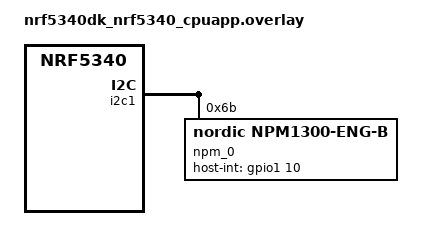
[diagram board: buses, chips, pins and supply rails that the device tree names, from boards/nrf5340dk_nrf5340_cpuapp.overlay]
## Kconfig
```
#
# Copyright (c) 2022 Nordic Semiconductor ASA
#
# SPDX-License-Identifier: Apache-2.0
#

mainmenu "Fuel Gauge example"

source "Kconfig.zephyr"
```

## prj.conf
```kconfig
#
# Copyright (c) 2022 Nordic Semiconductor ASA
#
# SPDX-License-Identifier: Apache-2.0
#

CONFIG_SERIAL=y
CONFIG_CONSOLE=y
CONFIG_UART_CONSOLE=y

CONFIG_I2C=y
CONFIG_NPMX=y
CONFIG_NPMX_DEVICE_NPM1300_ENG_B=y
CONFIG_LOG=y
CONFIG_NPMX_LOG_LEVEL_DBG=y
CONFIG_SHELL=y
CONFIG_ASSERT=y

# Core Dump configuraion
CONFIG_DEBUG_COREDUMP=y
CONFIG_DEBUG_COREDUMP_BACKEND_LOGGING=y

CONFIG_NRF_FUEL_GAUGE=y
```

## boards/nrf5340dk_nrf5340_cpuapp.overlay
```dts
/*
 * Copyright (c) 2022 Nordic Semiconductor ASA
 *
 * SPDX-License-Identifier: Apache-2.0
 */

&i2c1 {
	compatible = "nordic,nrf-twim";
	status = "okay";

	npm_0: npm1300@6b {
		status = "okay";
		compatible = "nordic,npm1300-eng-b";
		reg = <0x6b>;
		host-int-gpios = <&gpio1 10 (GPIO_PULL_DOWN | GPIO_ACTIVE_HIGH)>;
		pmic-int-pin = <0>;
	};
};

&i2c1_default {
	group1 {
		bias-pull-up;
	};
};
```

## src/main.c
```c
/*
 * Copyright (c) 2023 Nordic Semiconductor ASA
 *
 * SPDX-License-Identifier: BSD-3
 */

#include <zephyr/logging/log.h>
#include <zephyr/kernel.h>
#include <npmx_driver.h>

#include "nrf_fuel_gauge.h"

#define LOG_MODULE_NAME fuel_gague
LOG_MODULE_REGISTER(LOG_MODULE_NAME);

K_SEM_DEFINE(init_sem, 0, 1);

static const struct battery_model battery_model = {
#include "battery_model.inc"
};

static npmx_error_t fuel_gauge_init(void)
{
	struct nrf_fuel_gauge_init_parameters parameters = { .model = &battery_model };

	nrf_fuel_gauge_init(&parameters, NULL);

	return NPMX_SUCCESS;
}

static void adc_callback(npmx_instance_t *p_pm, npmx_callback_type_t type, uint8_t mask)
{
	/* Get V_BAT */
	uin16_t vbat_mv;
	if (npmx_adc_meas_get(npmx_adc_get(p_pm, 0), NPMX_ADC_MEAS_VBAT, &vbat_mv) !=
	    NPMX_SUCCESS) {
		LOG_ERR("VBAT measurement failed.")
	}

	// get T_BAT

	// get I_BAT ???

	/* Release first callback semaphore - fuel gauge can be initialized. */
	k_sem_give(&init_sem);
}

void main(void)
{
	const struct device *pmic_dev = DEVICE_DT_GET(DT_NODELABEL(npm_0));

	if (!device_is_ready(pmic_dev)) {
		LOG_ERR("PMIC device is not ready.");
		return;
	}

	LOG_INF("PMIC device OK.");

	/* Get pointer to npmx device. */
	npmx_instance_t *npmx_instance = npmx_driver_instance_get(pmic_dev);

	/* Register callback for ADC events. */
	npmx_core_register_cb(npmx_instance, adc_callback, NPMX_CALLBACK_TYPE_EVENT_ADC);

	/* Enable interrupt for ADC measurement ready. */
	npmx_core_event_interrupt_enable(npmx_instance, NPMX_EVENT_GROUP_ADC,
					 NPMX_EVENT_GROUP_ADC_BAT_READY_MASK);

	/* Set NTC type for ADC measurements. */
	npmx_adc_ntc_set(npmx_adc_get(npmx_instance, 0), NPMX_ADC_NTC_TYPE_10_K);

	/* Enable ADC auto measurements every ~1s (default). */
	npmx_adc_config_t config = { .vbat_auto = true, .vbat_burst = false };

	npmx_adc_config_set(npmx_adc_get(npmx_instance, 0), &config);

	/* Wait for first ADC callback to fire, this is needed for init parameters. */
	if (k_sem_take(&init_sem, K_MSEC(5)) != 0) {
		LOG_ERR("ADC callback did not fire.");
	}

	if (fuel_gauge_init() != NPMX_SUCCESS) {
		LOG_ERR("Fuel gauge initialization faiied.");
	}

	LOG_INF("Fuel gauge OK.");

	while (1) {
		k_sleep(K_FOREVER);
	}
}
```
